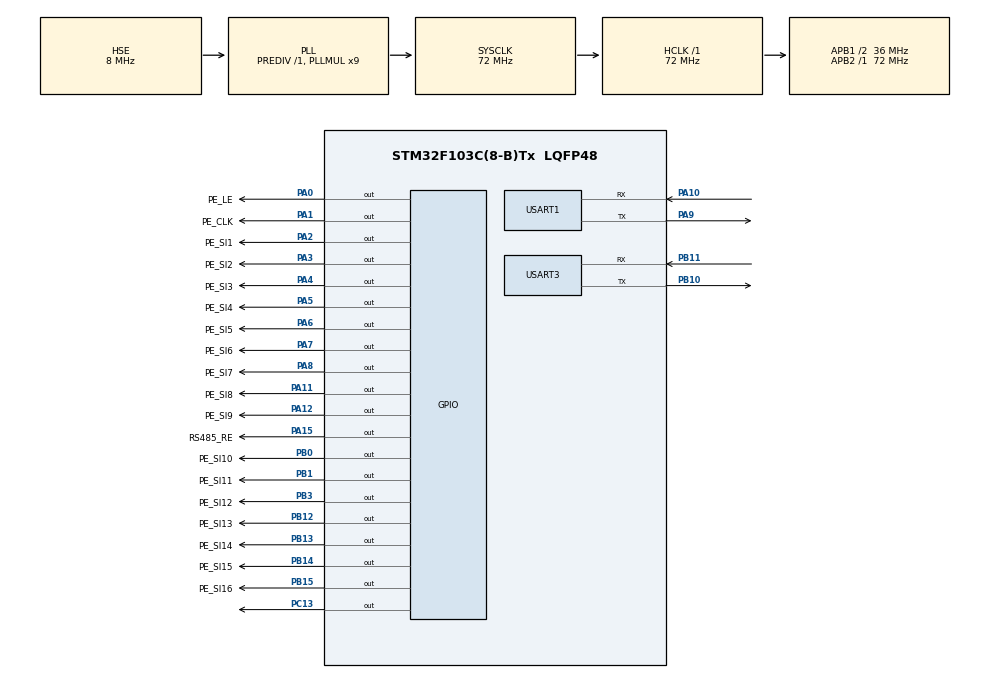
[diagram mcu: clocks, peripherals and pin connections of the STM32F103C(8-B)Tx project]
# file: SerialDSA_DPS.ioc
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Mcu.Family=STM32F1
Mcu.Name=STM32F103C(8-B)Tx
Mcu.Package=LQFP48
NVIC.PriorityGroup=NVIC_PRIORITYGROUP_4
NVIC.USART1_IRQn=true\:0\:0\:false\:false\:true\:true\:true\:true
NVIC.USART3_IRQn=true\:0\:0\:false\:false\:true\:true\:true\:true
PA0-WKUP.GPIO_Label=PE_LE
PA0-WKUP.GPIO_Speed=GPIO_SPEED_FREQ_LOW
PA0-WKUP.Signal=GPIO_Output
PA1.GPIO_Label=PE_CLK
PA1.GPIO_Speed=GPIO_SPEED_FREQ_LOW
PA1.Signal=GPIO_Output
PA10.Mode=Asynchronous
PA10.Signal=USART1_RX
PA11.GPIO_Label=PE_SI8
PA11.Signal=GPIO_Output
PA12.GPIO_Label=PE_SI9
PA12.Signal=GPIO_Output
PA13.Mode=Serial_Wire
PA13.Signal=SYS_JTMS-SWDIO
PA14.Mode=Serial_Wire
PA14.Signal=SYS_JTCK-SWCLK
PA15.GPIO_Label=RS485_RE
PA15.Signal=GPIO_Output
PA2.GPIO_Label=PE_SI1
PA2.GPIO_Speed=GPIO_SPEED_FREQ_LOW
PA2.Signal=GPIO_Output
PA3.GPIO_Label=PE_SI2
PA3.Signal=GPIO_Output
PA4.GPIO_Label=PE_SI3
PA4.Signal=GPIO_Output
PA5.GPIO_Label=PE_SI4
PA5.Signal=GPIO_Output
PA6.GPIO_Label=PE_SI5
PA6.Signal=GPIO_Output
PA7.GPIO_Label=PE_SI6
PA7.Signal=GPIO_Output
PA8.GPIO_Label=PE_SI7
PA8.Signal=GPIO_Output
PA9.Mode=Asynchronous
PA9.Signal=USART1_TX
PB0.GPIO_Label=PE_SI10
PB0.Signal=GPIO_Output
PB1.GPIO_Label=PE_SI11
PB1.Signal=GPIO_Output
PB10.Mode=Asynchronous
PB10.Signal=USART3_TX
PB11.Mode=Asynchronous
PB11.Signal=USART3_RX
PB12.GPIO_Label=PE_SI13
PB12.Signal=GPIO_Output
PB13.GPIO_Label=PE_SI14
PB13.Signal=GPIO_Output
PB14.GPIO_Label=PE_SI15
PB14.Signal=GPIO_Output
PB15.GPIO_Label=PE_SI16
PB15.Signal=GPIO_Output
PB3.GPIO_Label=PE_SI12
PB3.Signal=GPIO_Output
PC13-TAMPER-RTC.Signal=GPIO_Output
PD0-OSC_IN.Mode=HSE-External-Oscillator
PD0-OSC_IN.Signal=RCC_OSC_IN
PD1-OSC_OUT.Mode=HSE-External-Oscillator
PD1-OSC_OUT.Signal=RCC_OSC_OUT
ProjectManager.HeapSize=0x200
ProjectManager.StackSize=0x400
ProjectManager.TargetToolchain=MDK-ARM V5.32
RCC.AHBFreq_Value=72000000
RCC.APB1CLKDivider=RCC_HCLK_DIV2
RCC.APB1Freq_Value=36000000
RCC.APB1TimFreq_Value=72000000
RCC.APB2Freq_Value=72000000
RCC.APB2TimFreq_Value=72000000
RCC.HCLKFreq_Value=72000000
RCC.PLLMUL=RCC_PLL_MUL9
RCC.PLLSourceVirtual=RCC_PLLSOURCE_HSE
RCC.SYSCLKFreq_VALUE=72000000
RCC.SYSCLKSource=RCC_SYSCLKSOURCE_PLLCLK
RCC.USBFreq_Value=72000000
TIM2.Prescaler=71
USART1.VirtualMode=VM_ASYNC
USART3.VirtualMode=VM_ASYNC
VP_TIM2_VS_ClockSourceINT.Mode=Internal
board=custom

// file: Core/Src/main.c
/* USER CODE BEGIN Header */
/**
  ******************************************************************************
  * @file           : main.c
  * @brief          : Main program body
  ******************************************************************************
  * @attention
  *
  * Copyright (c) 2023 STMicroelectronics.
  * All rights reserved.
  *
  * This software is licensed under terms that can be found in the LICENSE file
  * in the root directory of this software component.
  * If no LICENSE file comes with this software, it is provided AS-IS.
  *
  ******************************************************************************
  */
/* USER CODE END Header */
#include "main.h"
#include "tim.h"
#include "usart.h"
#include "gpio.h"

/* USER CODE BEGIN Includes */
#include "PE4x.h"

/* USER CODE END Includes */

void SystemClock_Config(void);

int main(void)
{

  /* MCU Configuration--------------------------------------------------------*/

  /* Reset of all peripherals, Initializes the Flash interface and the Systick. */
  HAL_Init();

  /* Configure the system clock */
  SystemClock_Config();

  /* Initialize all configured peripherals */
  MX_GPIO_Init();
  MX_TIM2_Init();
  MX_USART1_UART_Init();
  MX_USART3_UART_Init();
  /* USER CODE BEGIN 2 */
  //TODO
  delay_ms_tim(1000);

  //PE_WriteSingle(1, P_DEG1P4|A_2dB);

  SetChannel_AmpPhase(1,   2.5,   1.4);
  SetChannel_AmpPhase(2,  0.25,   4.2);
  SetChannel_AmpPhase(3,     5,  22.5);
  SetChannel_AmpPhase(4,     7,   2.8);
  SetChannel_AmpPhase(5,    32,     0);
  SetChannel_AmpPhase(6,    32,     0);
  SetChannel_AmpPhase(7,    32,     0);
  SetChannel_AmpPhase(8,    32,     0);
  SetChannel_AmpPhase(9,    32,     0);
  SetChannel_AmpPhase(10,   32,     0);
  SetChannel_AmpPhase(11,   32,     0);
  SetChannel_AmpPhase(12,   32,     0);
  SetChannel_AmpPhase(13,   32,     0);
  SetChannel_AmpPhase(14,   32,     0);
  SetChannel_AmpPhase(15,   32,     0);
  SetChannel_AmpPhase(16,   32,     0);
  PE_WriteAll_16(DSAdata_buffer, DPSdata_buffer);

  HAL_UART_Receive_IT(&huart1, (uint8_t *)&u1_aRxBuffer, 1);    //
  HAL_UART_Receive_IT(&huart3, (uint8_t *)&u3_aRxBuffer, 36);    //

	HAL_GPIO_TogglePin(GPIOC, GPIO_PIN_13);
  //TODO
  /* USER CODE END 2 */

  /* Infinite loop */
  /* USER CODE BEGIN WHILE */
  while (1)
  {
    //TODO
    // HAL_GPIO_TogglePin(GPIOC, GPIO_PIN_13);
    // delay_ms_tim(3000);

    if(send_flag == 1)
    {
      PE_WriteAll_16(DSAdata_buffer, DPSdata_buffer);
      send_flag = 0;
    }

    //TODO
    /* USER CODE END WHILE */

  }
}

void SystemClock_Config(void)
{
  RCC_OscInitTypeDef RCC_OscInitStruct = {0};
  RCC_ClkInitTypeDef RCC_ClkInitStruct = {0};

  /** Initializes the RCC Oscillators according to the specified parameters
  * in the RCC_OscInitTypeDef structure.
  */
  RCC_OscInitStruct.OscillatorType = RCC_OSCILLATORTYPE_HSE;
  RCC_OscInitStruct.HSEState = RCC_HSE_ON;
  RCC_OscInitStruct.HSEPredivValue = RCC_HSE_PREDIV_DIV1;
  RCC_OscInitStruct.HSIState = RCC_HSI_ON;
  RCC_OscInitStruct.PLL.PLLState = RCC_PLL_ON;
  RCC_OscInitStruct.PLL.PLLSource = RCC_PLLSOURCE_HSE;
  RCC_OscInitStruct.PLL.PLLMUL = RCC_PLL_MUL9;
  if (HAL_RCC_OscConfig(&RCC_OscInitStruct) != HAL_OK)
  {
    Error_Handler();
  }

  /** Initializes the CPU, AHB and APB buses clocks
  */
  RCC_ClkInitStruct.ClockType = RCC_CLOCKTYPE_HCLK|RCC_CLOCKTYPE_SYSCLK
                              |RCC_CLOCKTYPE_PCLK1|RCC_CLOCKTYPE_PCLK2;
  RCC_ClkInitStruct.SYSCLKSource = RCC_SYSCLKSOURCE_PLLCLK;
  RCC_ClkInitStruct.AHBCLKDivider = RCC_SYSCLK_DIV1;
  RCC_ClkInitStruct.APB1CLKDivider = RCC_HCLK_DIV2;
  RCC_ClkInitStruct.APB2CLKDivider = RCC_HCLK_DIV1;

  if (HAL_RCC_ClockConfig(&RCC_ClkInitStruct, FLASH_LATENCY_2) != HAL_OK)
  {
    Error_Handler();
  }
}

void Error_Handler(void)
{
  __disable_irq();
  while (1)
  {
  }
}
